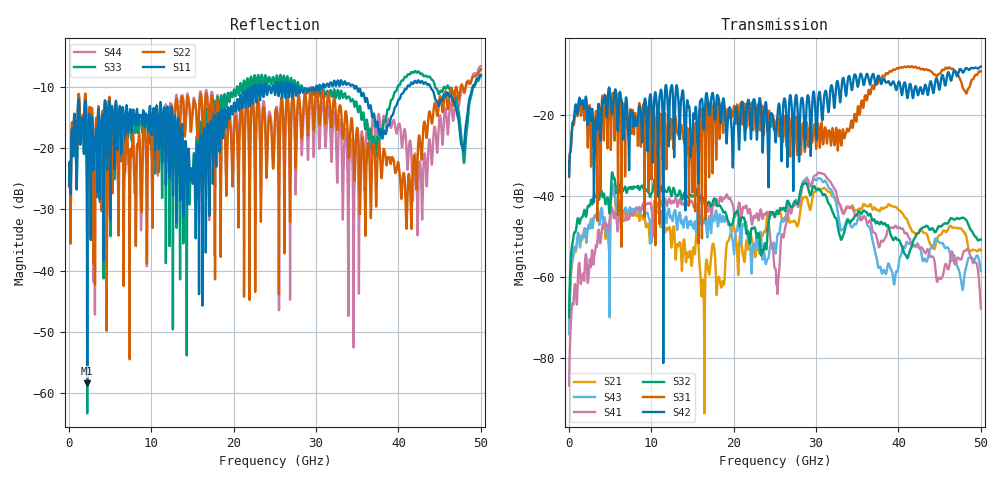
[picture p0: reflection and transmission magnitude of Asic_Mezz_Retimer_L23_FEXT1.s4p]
! Created Thu Jun 27 15:51:50 2019
# hz S ma R 50
! 4 Port Network Data from SP1.SP block
! freq  magS11  angS11  magS12  angS12  magS13  angS13  magS14  angS14
!  magS21  angS21  magS22  angS22  magS23  angS23  magS24  angS24
!  magS31  angS31  magS32  angS32  magS33  angS33  magS34  angS34
!  magS41  angS41  magS42  angS42  magS43  angS43  magS44  angS44
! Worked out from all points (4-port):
!   4996 points, 50 MHz to 50 GHz, reference 50 ohm
!   strongest paths, dB at 50 MHz, 12.54 GHz, 25.03 GHz, 37.52 GHz, 50 GHz:
!     S42: -35.0, -12.6, -24.7, -10.2, -7.9
!     S31: -35.2, -21.7, -22.9, -11.9, -9.1
!     S32: -69.8, -39.5, -45.1, -46.4, -50.6
!     S41: -86.8, -41.1, -57.7, -51.6, -67.7
!     S43: -73.9, -45.6, -53.5, -57.2, -58.5
!     S21: -74.0, -51.0, -44.8, -43.3, -53.3
!   lowest |S11| = -58.4 dB at 2.24 GHz (marker M1), VSWR 1.00, Z = 50 + j0.119 ohm
!   |S11| at or under -10 dB: start of sweep to 22.1 GHz; 34.93 GHz to 41.07 GHz (6.136 GHz wide, 16.1 % of centre); 43.89 GHz to 48.99 GHz (5.106 GHz wide, 11 % of centre)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
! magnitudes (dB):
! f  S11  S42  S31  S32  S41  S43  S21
! 50 MHz  -26.0  -35.0  -35.2  -69.8  -86.8  -73.9  -74.0
! 2.24 GHz  -58.4  -20.0  -21.7  -43.1  -59.8  -49.4  -48.4
! 16.3 GHz  -21.5  -19.9  -20.2  -40.4  -40.8  -45.9  -61.1
! 25.32 GHz  -9.8  -20.1  -20.6  -43.9  -63.9  -49.6  -44.3
! 30.47 GHz  -9.7  -14.4  -27.9  -38.5  -34.3  -35.6  -38.2
! 40.97 GHz  -10.4  -14.2  -8.1  -54.9  -49.0  -51.3  -45.5
! 50 GHz  -8.0  -7.9  -9.1  -50.6  -67.7  -58.5  -53.3
